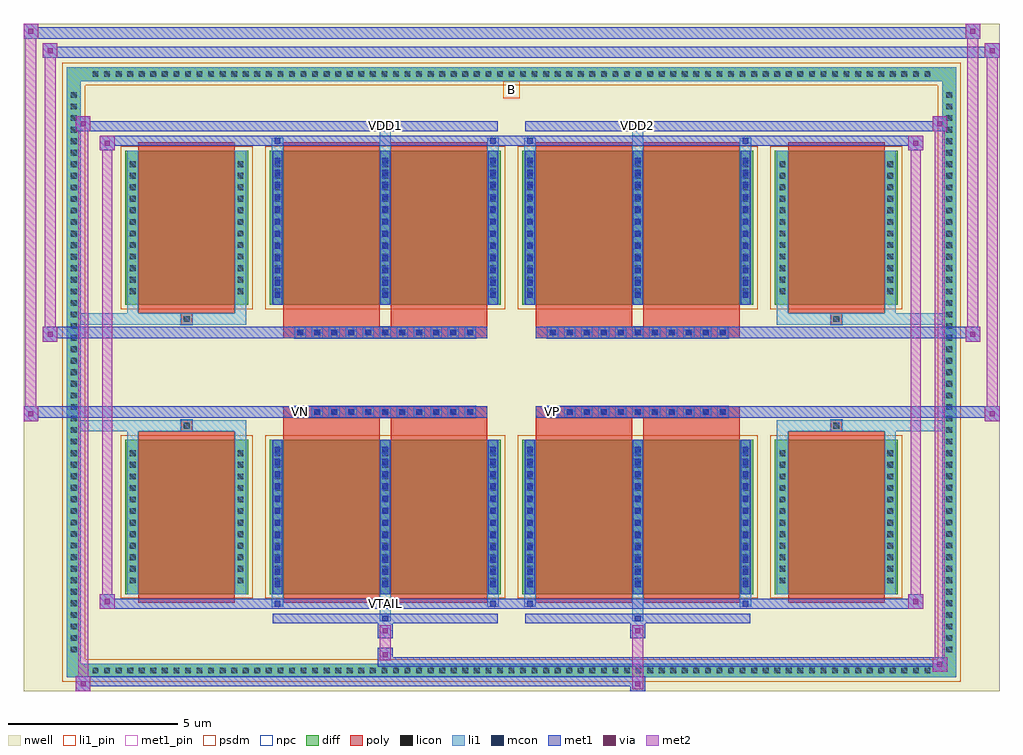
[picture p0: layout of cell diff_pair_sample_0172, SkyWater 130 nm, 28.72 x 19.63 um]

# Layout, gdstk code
import gdstk
lib = gdstk.Library(unit=1e-6, precision=5e-09)
def R(c, l, rs):  # rectangles x0, y0, x1, y1
    for r in rs: c.add(gdstk.rectangle(r[:2], r[2:], *l))
def A(c, l, x, y, w, h, nx, ny, dx, dy):  # array of equal rectangles
    R(c, l, [(x+i*dx, y+j*dy, x+i*dx+w, y+j*dy+h) for i in range(nx) for j in range(ny)])
def P(c, l, *ps):  # polygons
    for p in ps: c.add(gdstk.Polygon(p, *l))
nwell = (64, 20)
diff = (65, 20)
poly = (66, 20)
licon = (66, 44)
li1_pin = (67, 16)
li1 = (67, 20)
mcon = (67, 44)
met1_pin = (68, 16)
met1 = (68, 20)
via = (68, 44)
met2 = (69, 20)
psdm = (94, 20)
npc = (95, 20)

diff_pair_sample_0172 = lib.new_cell('diff_pair_sample_0172')
R(diff_pair_sample_0172, nwell, [(-14.36,-9.38,14.36,10.25), (-11.68,-7.57,-0.01,-0.805), (0.01,-7.57,11.68,-0.805), (-11.68,0.805,-0.01,7.57), (0.01,0.805,11.68,7.57)])
A(diff_pair_sample_0172, diff, -12.445, -8.98, 0.41, 0.41, 73, 2, 0.34, 17.55)
A(diff_pair_sample_0172, diff, -13.09, -8.365, 0.41, 0.41, 1, 49, 0, 0.34)
A(diff_pair_sample_0172, diff, 12.68, -8.365, 0.41, 0.41, 1, 49, 0, 0.34)
R(diff_pair_sample_0172, diff, [(-12.445,-8.98,12.445,-8.57), (-13.09,-8.365,-12.68,8.365), (12.68,-8.365,13.09,8.365), (-11.37,-6.525,-7.75,-1.985), (-7.11,-6.525,-0.32,-1.985), (0.32,-6.525,7.11,-1.985), (7.75,-6.525,11.37,-1.985), (-11.37,1.985,-7.75,6.525), (-7.11,1.985,-0.32,6.525), (0.32,1.985,7.11,6.525), (7.75,1.985,11.37,6.525), (-12.445,8.57,12.445,8.98)])
P(diff_pair_sample_0172, diff, [(13.09,8.98),(-13.09,8.98),(-13.09,-8.57),(-12.68,-8.57),(-12.68,8.57),(12.68,8.57),(12.68,-8.57),(-12.68,-8.57),(-13.09,-8.57),(-13.09,-8.98),(13.09,-8.98)])
A(diff_pair_sample_0172, poly, -6.38, -1.335, 0.33, 0.33, 11, 2, 0.5, 2.34)
A(diff_pair_sample_0172, poly, 1.05, -1.335, 0.33, 0.33, 11, 2, 0.5, 2.34)
R(diff_pair_sample_0172, poly, [(-10.98,-6.775,-8.14,-1.735), (-6.72,-6.775,-3.88,-1.735), (-3.55,-6.775,-0.71,-1.735), (0.71,-6.775,3.55,-1.735), (3.88,-6.775,6.72,-1.735), (8.14,-6.775,10.98,-1.735), (-9.725,-1.735,-9.395,-1.405), (-9.725,-1.735,-9.395,-1.405), (-6.72,-1.735,-3.88,-1.335), (-3.55,-1.735,-0.71,-1.335), (0.71,-1.735,3.55,-1.335), (3.88,-1.735,6.72,-1.335), (9.395,-1.735,9.725,-1.405), (9.395,-1.735,9.725,-1.405), (-6.72,-1.335,-0.71,-1.005), (0.71,-1.335,6.72,-1.005), (-6.72,1.005,-0.71,1.335), (0.71,1.005,6.72,1.335), (-6.72,1.335,-3.88,1.735), (-3.55,1.335,-0.71,1.735), (0.71,1.335,3.55,1.735), (3.88,1.335,6.72,1.735), (-9.725,1.405,-9.395,1.735), (-9.725,1.405,-9.395,1.735), (9.395,1.405,9.725,1.735), (9.395,1.405,9.725,1.735), (-10.98,1.735,-8.14,6.775), (-6.72,1.735,-3.88,6.775), (-3.55,1.735,-0.71,6.775), (0.71,1.735,3.55,6.775), (3.88,1.735,6.72,6.775), (8.14,1.735,10.98,6.775)])
A(diff_pair_sample_0172, licon, -12.325, -8.86, 0.17, 0.17, 73, 2, 0.34, 17.55)
A(diff_pair_sample_0172, licon, -12.97, -8.245, 0.17, 0.17, 1, 49, 0, 0.34)
A(diff_pair_sample_0172, licon, 12.8, -8.245, 0.17, 0.17, 1, 49, 0, 0.34)
A(diff_pair_sample_0172, licon, -11.23, -6.21, 0.17, 0.17, 1, 12, 0, 0.34)
A(diff_pair_sample_0172, licon, -8.06, -6.21, 0.17, 0.17, 1, 12, 0, 0.34)
A(diff_pair_sample_0172, licon, -6.97, -6.21, 0.17, 0.17, 3, 12, 3.17, 0.34)
A(diff_pair_sample_0172, licon, 0.46, -6.21, 0.17, 0.17, 3, 12, 3.17, 0.34)
A(diff_pair_sample_0172, licon, 7.89, -6.21, 0.17, 0.17, 1, 12, 0, 0.34)
A(diff_pair_sample_0172, licon, 11.06, -6.21, 0.17, 0.17, 1, 12, 0, 0.34)
A(diff_pair_sample_0172, licon, -6.3, -1.255, 0.17, 0.17, 11, 2, 0.5, 2.34)
A(diff_pair_sample_0172, licon, 1.13, -1.255, 0.17, 0.17, 11, 2, 0.5, 2.34)
A(diff_pair_sample_0172, licon, -11.23, 2.3, 0.17, 0.17, 1, 12, 0, 0.34)
A(diff_pair_sample_0172, licon, -8.06, 2.3, 0.17, 0.17, 1, 12, 0, 0.34)
A(diff_pair_sample_0172, licon, -6.97, 2.3, 0.17, 0.17, 3, 12, 3.17, 0.34)
A(diff_pair_sample_0172, licon, 0.46, 2.3, 0.17, 0.17, 3, 12, 3.17, 0.34)
A(diff_pair_sample_0172, licon, 7.89, 2.3, 0.17, 0.17, 1, 12, 0, 0.34)
A(diff_pair_sample_0172, licon, 11.06, 2.3, 0.17, 0.17, 1, 12, 0, 0.34)
R(diff_pair_sample_0172, licon, [(-9.645,-1.655,-9.475,-1.485), (9.475,-1.655,9.645,-1.485), (-9.645,1.485,-9.475,1.655), (9.475,1.485,9.645,1.655)])
R(diff_pair_sample_0172, li1_pin, [(-0.25,8.07,0.25,8.57)])
A(diff_pair_sample_0172, li1, -12.405, -8.94, 0.33, 0.33, 73, 2, 0.34, 17.55)
A(diff_pair_sample_0172, li1, -13.05, -8.325, 0.33, 0.33, 1, 49, 0, 0.34)
A(diff_pair_sample_0172, li1, 12.72, -8.325, 0.33, 0.33, 1, 49, 0, 0.34)
A(diff_pair_sample_0172, li1, -7.05, -6.525, 0.33, 4.54, 3, 2, 3.17, 8.51)
A(diff_pair_sample_0172, li1, 0.38, -6.525, 0.33, 4.54, 3, 2, 3.17, 8.51)
A(diff_pair_sample_0172, li1, -6.97, -6.32, 0.17, 0.17, 3, 12, 3.17, 0.36)
A(diff_pair_sample_0172, li1, -6.97, -6.32, 0.17, 4.13, 3, 2, 3.17, 8.51)
A(diff_pair_sample_0172, li1, 0.46, -6.32, 0.17, 0.17, 3, 12, 3.17, 0.36)
A(diff_pair_sample_0172, li1, 0.46, -6.32, 0.17, 4.13, 3, 2, 3.17, 8.51)
A(diff_pair_sample_0172, li1, -11.31, -6.29, 0.33, 0.33, 1, 12, 0, 0.34)
A(diff_pair_sample_0172, li1, -8.14, -6.29, 0.33, 0.33, 1, 12, 0, 0.34)
A(diff_pair_sample_0172, li1, -7.05, -6.29, 0.33, 0.33, 3, 12, 3.17, 0.34)
A(diff_pair_sample_0172, li1, 0.38, -6.29, 0.33, 0.33, 3, 12, 3.17, 0.34)
A(diff_pair_sample_0172, li1, 7.81, -6.29, 0.33, 0.33, 1, 12, 0, 0.34)
A(diff_pair_sample_0172, li1, 10.98, -6.29, 0.33, 0.33, 1, 12, 0, 0.34)
A(diff_pair_sample_0172, li1, -6.38, -1.335, 0.33, 0.33, 11, 2, 0.5, 2.34)
A(diff_pair_sample_0172, li1, 1.05, -1.335, 0.33, 0.33, 11, 2, 0.5, 2.34)
A(diff_pair_sample_0172, li1, -6.97, 2.19, 0.17, 0.17, 3, 12, 3.17, 0.36)
A(diff_pair_sample_0172, li1, 0.46, 2.19, 0.17, 0.17, 3, 12, 3.17, 0.36)
A(diff_pair_sample_0172, li1, -11.31, 2.22, 0.33, 0.33, 1, 12, 0, 0.34)
A(diff_pair_sample_0172, li1, -8.14, 2.22, 0.33, 0.33, 1, 12, 0, 0.34)
A(diff_pair_sample_0172, li1, -7.05, 2.22, 0.33, 0.33, 3, 12, 3.17, 0.34)
A(diff_pair_sample_0172, li1, 0.38, 2.22, 0.33, 0.33, 3, 12, 3.17, 0.34)
A(diff_pair_sample_0172, li1, 7.81, 2.22, 0.33, 0.33, 1, 12, 0, 0.34)
A(diff_pair_sample_0172, li1, 10.98, 2.22, 0.33, 0.33, 1, 12, 0, 0.34)
R(diff_pair_sample_0172, li1, [(-13.09,-8.98,-12.68,-8.57), (-13.09,-8.98,-12.68,-8.57), (-12.68,-8.98,12.68,-8.57), (12.68,-8.98,13.09,-8.57), (12.68,-8.98,13.09,-8.57), (-13.09,-8.57,-12.68,8.57), (12.68,-8.57,13.09,8.57), (-3.88,-7.33,-3.55,-6.525), (-3.8,-7.33,-3.63,-7.16), (3.55,-7.33,3.88,-6.525), (3.63,-7.33,3.8,-7.16), (-7.05,-6.9,-6.72,-6.525), (-6.97,-6.9,-6.8,-6.73), (-0.71,-6.9,-0.38,-6.525), (-0.63,-6.9,-0.46,-6.73), (0.38,-6.9,0.71,-6.525), (0.46,-6.9,0.63,-6.73), (6.72,-6.9,7.05,-6.525), (6.8,-6.9,6.97,-6.73), (-11.31,-6.525,-10.98,-1.985), (-8.14,-6.525,-7.81,-1.985), (7.81,-6.525,8.14,-1.985), (10.98,-6.525,11.31,-1.985), (-11.31,-1.985,-10.98,-1.405), (-8.14,-1.985,-7.81,-1.405), (7.81,-1.985,8.14,-1.405), (10.98,-1.985,11.31,-1.405), (-13.09,-1.735,-9.725,-1.405), (-11.31,-1.735,-9.725,-1.405), (-9.725,-1.735,-9.395,-1.405), (-9.395,-1.735,-7.81,-1.405), (7.81,-1.735,9.395,-1.405), (9.395,-1.735,9.725,-1.405), (9.395,-1.735,13.09,-1.405), (9.725,-1.735,11.31,-1.405), (-13.09,1.405,-9.725,1.735), (-11.31,1.405,-9.725,1.735), (-11.31,1.405,-10.98,1.985), (-9.725,1.405,-9.395,1.735), (-9.395,1.405,-7.81,1.735), (-8.14,1.405,-7.81,1.985), (7.81,1.405,9.395,1.735), (7.81,1.405,8.14,1.985), (9.395,1.405,9.725,1.735), (9.395,1.405,13.09,1.735), (9.725,1.405,11.31,1.735), (10.98,1.405,11.31,1.985), (-11.31,1.985,-10.98,6.525), (-8.14,1.985,-7.81,6.525), (7.81,1.985,8.14,6.525), (10.98,1.985,11.31,6.525), (-7.05,6.525,-6.72,6.9), (-3.88,6.525,-3.55,7.33), (-0.71,6.525,-0.38,6.9), (0.38,6.525,0.71,6.9), (3.55,6.525,3.88,7.33), (6.72,6.525,7.05,6.9), (-6.97,6.73,-6.8,6.9), (-0.63,6.73,-0.46,6.9), (0.46,6.73,0.63,6.9), (6.8,6.73,6.97,6.9), (-3.8,7.16,-3.63,7.33), (3.63,7.16,3.8,7.33), (-13.09,8.57,-12.68,8.98), (-13.09,8.57,-12.68,8.98), (-12.68,8.57,12.68,8.98), (12.68,8.57,13.09,8.98), (12.68,8.57,13.09,8.98)])
A(diff_pair_sample_0172, mcon, -6.97, -6.32, 0.17, 0.17, 3, 12, 3.17, 0.36)
A(diff_pair_sample_0172, mcon, 0.46, -6.32, 0.17, 0.17, 3, 12, 3.17, 0.36)
A(diff_pair_sample_0172, mcon, -6.3, -1.255, 0.17, 0.17, 11, 2, 0.5, 2.34)
A(diff_pair_sample_0172, mcon, 1.13, -1.255, 0.17, 0.17, 11, 2, 0.5, 2.34)
A(diff_pair_sample_0172, mcon, -6.97, 2.19, 0.17, 0.17, 3, 12, 3.17, 0.36)
A(diff_pair_sample_0172, mcon, 0.46, 2.19, 0.17, 0.17, 3, 12, 3.17, 0.36)
R(diff_pair_sample_0172, mcon, [(-3.8,-7.33,-3.63,-7.16), (3.63,-7.33,3.8,-7.16), (-6.97,-6.9,-6.8,-6.73), (-0.63,-6.9,-0.46,-6.73), (0.46,-6.9,0.63,-6.73), (6.8,-6.9,6.97,-6.73), (-6.97,6.73,-6.8,6.9), (-0.63,6.73,-0.46,6.9), (0.46,6.73,0.63,6.9), (6.8,6.73,6.97,6.9), (-3.8,7.16,-3.63,7.33), (3.63,7.16,3.8,7.33)])
R(diff_pair_sample_0172, met1_pin, [(-3.85,-6.94,-3.58,-6.67), (-6.35,-1.295,-6.08,-1.025), (1.08,-1.295,1.35,-1.025), (-3.85,7.12,-3.58,7.39), (3.58,7.12,3.85,7.39)])
A(diff_pair_sample_0172, met1, -7.03, -6.525, 0.29, 4.54, 3, 2, 3.17, 8.51)
A(diff_pair_sample_0172, met1, 0.4, -6.525, 0.29, 4.54, 3, 2, 3.17, 8.51)
A(diff_pair_sample_0172, met1, -7.03, -6.38, 0.29, 0.29, 3, 12, 3.17, 0.36)
A(diff_pair_sample_0172, met1, 0.4, -6.38, 0.29, 0.29, 3, 12, 3.17, 0.36)
A(diff_pair_sample_0172, met1, -6.36, -1.315, 0.29, 0.29, 11, 2, 0.5, 2.34)
A(diff_pair_sample_0172, met1, 1.07, -1.315, 0.29, 0.29, 11, 2, 0.5, 2.34)
A(diff_pair_sample_0172, met1, -7.03, 2.13, 0.29, 0.29, 3, 12, 3.17, 0.36)
A(diff_pair_sample_0172, met1, 0.4, 2.13, 0.29, 0.29, 3, 12, 3.17, 0.36)
R(diff_pair_sample_0172, met1, [(-12.82,-9.38,-12.39,-8.95), (3.5,-9.38,3.93,-8.95), (-12.82,-9.24,3.93,-8.95), (12.39,-8.81,12.82,-8.38), (-3.93,-8.67,12.82,-8.38), (-3.93,-8.53,-3.5,-8.1), (-3.93,-7.82,-3.5,-7.39), (3.5,-7.82,3.93,-7.39), (-7.03,-7.39,-0.4,-7.1), (-3.86,-7.39,-3.57,-7.1), (0.4,-7.39,7.03,-7.1), (3.57,-7.39,3.86,-7.1), (-12.11,-6.96,-11.68,-6.53), (-12.11,-6.96,-7.03,-6.67), (-7.03,-6.96,-6.74,-6.67), (-7.03,-6.96,-0.4,-6.67), (-0.69,-6.96,-0.4,-6.67), (-0.4,-6.96,0.4,-6.67), (0.4,-6.96,0.69,-6.67), (0.4,-6.96,7.03,-6.67), (6.74,-6.96,7.03,-6.67), (7.03,-6.96,12.11,-6.67), (11.68,-6.96,12.11,-6.53), (-14.36,-1.435,-13.93,-1.005), (13.93,-1.435,14.36,-1.005), (-14.36,-1.335,-0.71,-1.005), (-6.72,-1.335,-0.71,-1.005), (0.71,-1.335,6.72,-1.005), (0.71,-1.335,14.36,-1.005), (-13.79,0.905,-13.36,1.335), (13.36,0.905,13.79,1.335), (-13.79,1.005,-6.72,1.335), (-6.72,1.005,-0.71,1.335), (0.71,1.005,6.72,1.335), (6.72,1.005,13.79,1.335), (-12.11,6.53,-11.68,6.96), (11.68,6.53,12.11,6.96), (-12.11,6.67,-7.03,6.96), (-7.03,6.67,-6.74,6.96), (-7.03,6.67,-0.4,6.96), (-0.69,6.67,-0.4,6.96), (-0.4,6.67,0.4,6.96), (0.4,6.67,0.69,6.96), (0.4,6.67,7.03,6.96), (6.74,6.67,7.03,6.96), (7.03,6.67,12.11,6.96), (-12.82,7.1,-12.39,7.53), (-12.82,7.1,-7.03,7.39), (-7.03,7.1,-0.4,7.39), (-3.86,7.1,-3.57,7.39), (0.4,7.1,7.03,7.39), (3.57,7.1,3.86,7.39), (7.03,7.1,12.82,7.39), (12.39,7.1,12.82,7.53), (-13.79,9.25,-13.36,9.68), (-13.79,9.25,-11.68,9.58), (-11.68,9.25,11.68,9.58), (11.68,9.25,14.36,9.58), (13.93,9.25,14.36,9.68), (-14.36,9.82,-13.93,10.25), (-14.36,9.82,-11.68,10.15), (-11.68,9.82,11.68,10.15), (11.68,9.82,13.79,10.15), (13.36,9.82,13.79,10.25)])
R(diff_pair_sample_0172, via, [(-12.68,-9.24,-12.53,-9.09), (3.64,-9.24,3.79,-9.09), (12.53,-8.67,12.68,-8.52), (-3.79,-8.39,-3.64,-8.24), (-3.79,-7.68,-3.64,-7.53), (3.64,-7.68,3.79,-7.53), (-11.97,-6.82,-11.82,-6.67), (11.82,-6.82,11.97,-6.67), (-14.22,-1.295,-14.07,-1.145), (14.07,-1.295,14.22,-1.145), (-13.65,1.045,-13.5,1.195), (13.5,1.045,13.65,1.195), (-11.97,6.67,-11.82,6.82), (11.82,6.67,11.97,6.82), (-12.68,7.24,-12.53,7.39), (12.53,7.24,12.68,7.39), (-13.65,9.39,-13.5,9.54), (14.07,9.39,14.22,9.54), (-14.22,9.96,-14.07,10.11), (13.5,9.96,13.65,10.11)])
R(diff_pair_sample_0172, met2, [(-12.82,-9.38,-12.39,-8.95), (-12.75,-9.38,-12.46,7.53), (-12.46,-9.38,-12.39,-8.95), (-12.77,-9.33,-12.44,-9), (3.55,-9.33,3.88,-9), (3.55,-9,3.88,-7.77), (12.39,-8.81,12.82,-8.38), (12.46,-8.81,12.75,7.53), (12.75,-8.81,12.82,-8.38), (12.44,-8.76,12.77,-8.43), (-3.88,-8.48,-3.55,-8.15), (-3.88,-8.15,-3.55,-7.77), (-3.88,-7.77,-3.55,-7.44), (3.55,-7.77,3.88,-7.44), (-12.11,-6.96,-11.68,-6.53), (-12.04,-6.96,-11.75,6.96), (-11.75,-6.96,-11.68,-6.53), (11.68,-6.96,12.11,-6.53), (11.75,-6.96,12.04,6.96), (12.04,-6.96,12.11,-6.53), (-12.06,-6.91,-11.73,-6.58), (11.73,-6.91,12.06,-6.58), (-14.36,-1.435,-13.93,-1.005), (-14.31,-1.435,-13.98,10.25), (-13.98,-1.435,-13.93,-1.005), (13.93,-1.435,14.36,-1.005), (13.98,-1.435,14.31,9.68), (14.31,-1.435,14.36,-1.005), (-14.31,-1.385,-13.98,-1.055), (13.98,-1.385,14.31,-1.055), (-13.79,0.905,-13.36,1.335), (-13.74,0.905,-13.41,9.68), (-13.41,0.905,-13.36,1.335), (13.36,0.905,13.79,1.335), (13.41,0.905,13.74,10.25), (13.74,0.905,13.79,1.335), (-13.74,0.955,-13.41,1.285), (13.41,0.955,13.74,1.285), (-12.11,6.53,-11.68,6.96), (-11.75,6.53,-11.68,6.96), (11.68,6.53,12.11,6.96), (12.04,6.53,12.11,6.96), (-12.06,6.58,-11.73,6.91), (11.73,6.58,12.06,6.91), (-12.82,7.1,-12.39,7.53), (-12.46,7.1,-12.39,7.53), (12.39,7.1,12.82,7.53), (12.75,7.1,12.82,7.53), (-12.77,7.15,-12.44,7.48), (12.44,7.15,12.77,7.48), (-13.79,9.25,-13.36,9.68), (-13.41,9.25,-13.36,9.68), (13.93,9.25,14.36,9.68), (14.31,9.25,14.36,9.68), (-13.74,9.3,-13.41,9.63), (13.98,9.3,14.31,9.63), (-14.36,9.82,-13.93,10.25), (-13.98,9.82,-13.93,10.25), (13.36,9.82,13.79,10.25), (13.74,9.82,13.79,10.25), (-14.31,9.87,-13.98,10.2), (13.41,9.87,13.74,10.2)])
R(diff_pair_sample_0172, psdm, [(-11.5,-6.655,-7.62,-1.855), (-7.24,-6.655,-0.19,-1.855), (0.19,-6.655,7.24,-1.855), (7.62,-6.655,11.5,-1.855), (-11.5,1.855,-7.62,6.655), (-7.24,1.855,-0.19,6.655), (0.19,1.855,7.24,6.655), (7.62,1.855,11.5,6.655)])
P(diff_pair_sample_0172, psdm, [(13.22,9.11),(-13.22,9.11),(-13.22,-8.44),(-12.55,-8.44),(-12.55,8.44),(12.55,8.44),(12.55,-8.44),(-12.55,-8.44),(-13.22,-8.44),(-13.22,-9.11),(13.22,-9.11)])
A(diff_pair_sample_0172, npc, -6.4, -1.355, 0.37, 0.37, 11, 2, 0.5, 2.34)
A(diff_pair_sample_0172, npc, 1.03, -1.355, 0.37, 0.37, 11, 2, 0.5, 2.34)
R(diff_pair_sample_0172, npc, [(-9.745,-1.755,-9.375,-1.385), (9.375,-1.755,9.745,-1.385), (-6.4,-1.355,-5.53,-0.985), (-6.4,-1.355,-5.53,-0.985), (-5.9,-1.355,-5.03,-0.985), (-5.9,-1.355,-5.03,-0.985), (-5.4,-1.355,-4.53,-0.985), (-5.4,-1.355,-4.53,-0.985), (-4.9,-1.355,-4.03,-0.985), (-4.9,-1.355,-4.03,-0.985), (-4.4,-1.355,-3.53,-0.985), (-4.4,-1.355,-3.53,-0.985), (-3.9,-1.355,-3.03,-0.985), (-3.9,-1.355,-3.03,-0.985), (-3.4,-1.355,-2.53,-0.985), (-3.4,-1.355,-2.53,-0.985), (-2.9,-1.355,-2.03,-0.985), (-2.9,-1.355,-2.03,-0.985), (-2.4,-1.355,-1.53,-0.985), (-2.4,-1.355,-1.53,-0.985), (-1.9,-1.355,-1.03,-0.985), (-1.9,-1.355,-1.03,-0.985), (1.03,-1.355,1.9,-0.985), (1.03,-1.355,1.9,-0.985), (1.53,-1.355,2.4,-0.985), (1.53,-1.355,2.4,-0.985), (2.03,-1.355,2.9,-0.985), (2.03,-1.355,2.9,-0.985), (2.53,-1.355,3.4,-0.985), (2.53,-1.355,3.4,-0.985), (3.03,-1.355,3.9,-0.985), (3.03,-1.355,3.9,-0.985), (3.53,-1.355,4.4,-0.985), (3.53,-1.355,4.4,-0.985), (4.03,-1.355,4.9,-0.985), (4.03,-1.355,4.9,-0.985), (4.53,-1.355,5.4,-0.985), (4.53,-1.355,5.4,-0.985), (5.03,-1.355,5.9,-0.985), (5.03,-1.355,5.9,-0.985), (5.53,-1.355,6.4,-0.985), (5.53,-1.355,6.4,-0.985), (-6.4,0.985,-5.53,1.355), (-6.4,0.985,-5.53,1.355), (-5.9,0.985,-5.03,1.355), (-5.9,0.985,-5.03,1.355), (-5.4,0.985,-4.53,1.355), (-5.4,0.985,-4.53,1.355), (-4.9,0.985,-4.03,1.355), (-4.9,0.985,-4.03,1.355), (-4.4,0.985,-3.53,1.355), (-4.4,0.985,-3.53,1.355), (-3.9,0.985,-3.03,1.355), (-3.9,0.985,-3.03,1.355), (-3.4,0.985,-2.53,1.355), (-3.4,0.985,-2.53,1.355), (-2.9,0.985,-2.03,1.355), (-2.9,0.985,-2.03,1.355), (-2.4,0.985,-1.53,1.355), (-2.4,0.985,-1.53,1.355), (-1.9,0.985,-1.03,1.355), (-1.9,0.985,-1.03,1.355), (1.03,0.985,1.9,1.355), (1.03,0.985,1.9,1.355), (1.53,0.985,2.4,1.355), (1.53,0.985,2.4,1.355), (2.03,0.985,2.9,1.355), (2.03,0.985,2.9,1.355), (2.53,0.985,3.4,1.355), (2.53,0.985,3.4,1.355), (3.03,0.985,3.9,1.355), (3.03,0.985,3.9,1.355), (3.53,0.985,4.4,1.355), (3.53,0.985,4.4,1.355), (4.03,0.985,4.9,1.355), (4.03,0.985,4.9,1.355), (4.53,0.985,5.4,1.355), (4.53,0.985,5.4,1.355), (5.03,0.985,5.9,1.355), (5.03,0.985,5.9,1.355), (5.53,0.985,6.4,1.355), (5.53,0.985,6.4,1.355), (-9.745,1.385,-9.375,1.755), (9.375,1.385,9.745,1.755)])
diff_pair_sample_0172.add(gdstk.Label('VTAIL', (-3.715,-6.805), layer=68, texttype=5))
diff_pair_sample_0172.add(gdstk.Label('VN', (-6.215,-1.16), layer=68, texttype=5))
diff_pair_sample_0172.add(gdstk.Label('VP', (1.215,-1.16), layer=68, texttype=5))
diff_pair_sample_0172.add(gdstk.Label('B', (0,8.32), layer=67, texttype=5))
diff_pair_sample_0172.add(gdstk.Label('VDD2', (3.715,7.255), layer=68, texttype=5))
diff_pair_sample_0172.add(gdstk.Label('VDD1', (-3.715,7.255), layer=68, texttype=5))

lib.write_gds('diff_pair_sample_0172.gds')
